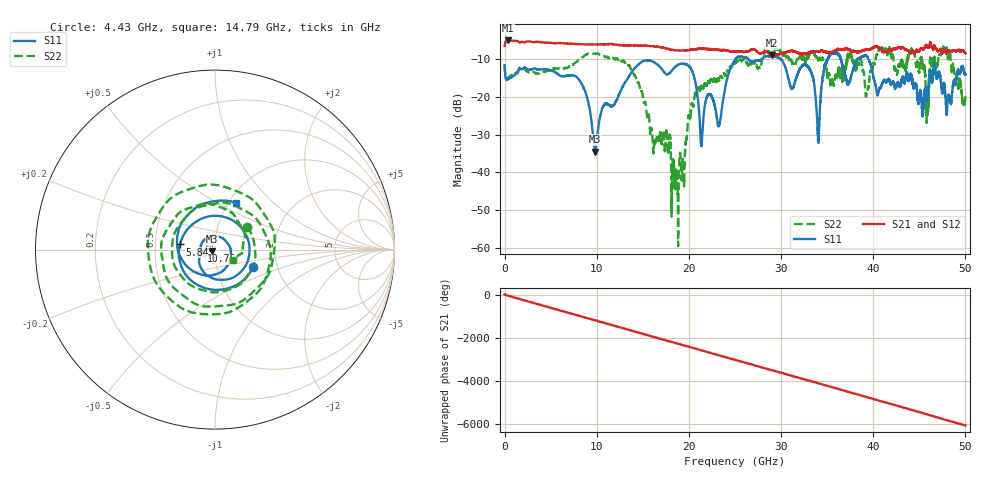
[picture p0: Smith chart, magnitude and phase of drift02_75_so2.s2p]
!Created with skrf (http://scikit-rf.org).
# Hz S RI R 50.0
!freq ReS11 ImS11 ReS21 ImS21 ReS12 ImS12 ReS22 ImS22
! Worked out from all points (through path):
!   10001 points, 300 kHz to 50 GHz, reference 50 ohm
!   highest |S21| = -5.04 dB at 375.3 MHz (marker M1); lowest = -9.0 dB at 29.05 GHz (marker M2)
!   group delay of S21, straight-line fit = 336 ps
!   lowest |S11| = -34.5 dB at 9.815 GHz (marker M3), VSWR 1.04, Z = 48.4 - j0.925 ohm
!   |S11| at or under -10 dB: start of sweep to 25.07 GHz; 29.98 GHz to 35.03 GHz (5.047 GHz wide, 15.5 % of centre); 39.48 GHz to end of sweep (the widest 3 of 10)
!   |S22| runs from -59.6 to -6.6 dB; largest |S21 - S12| = 0.022
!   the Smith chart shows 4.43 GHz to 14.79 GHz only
!   S11 on the Smith chart (normalised r, x): 4.43 GHz: 1.51, -0.31; 5.845 GHz: 0.67, +0.04; 10.75 GHz: 0.86, -0.02; 14.79 GHz: 1.09, +0.62
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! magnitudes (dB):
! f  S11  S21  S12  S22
! 300 kHz  -11.6  -6.5  -6.4  -11.5
! 375.3 MHz  -15.3  -5.0  -5.0  -14.9
! 4.43 GHz  -12.6  -5.6  -5.6  -13.3
! 5.845 GHz  -14.1  -5.7  -5.7  -12.5
! 8.335 GHz  -16.4  -6.0  -6.0  -9.6
! 9.815 GHz  -34.5  -6.1  -6.1  -8.5
! 10.75 GHz  -22.3  -6.1  -6.1  -9.2
! 14.79 GHz  -10.9  -6.4  -6.4  -18.6
! 16.67 GHz  -11.6  -6.7  -6.7  -31.3
! 18.67 GHz  -11.8  -7.7  -7.7  -40.0
! 20.37 GHz  -13.3  -7.5  -7.5  -22.0
! 21.37 GHz  -32.2  -7.2  -7.2  -16.9
! 23.31 GHz  -27.3  -7.6  -7.6  -15.6
! 25 GHz  -10.3  -7.9  -7.9  -11.2
! 29.05 GHz  -9.1  -9.0  -9.0  -8.1
! 33.34 GHz  -13.9  -8.1  -8.1  -8.1
! 34.02 GHz  -31.8  -7.9  -7.9  -10.3
! 35.52 GHz  -8.4  -8.2  -8.1  -15.5
! 41.67 GHz  -15.3  -7.7  -7.8  -7.4
! 45.85 GHz  -21.4  -6.7  -6.8  -21.3
! 47.76 GHz  -17.2  -7.5  -7.5  -7.4
! 50 GHz  -14.1  -8.4  -8.4  -20.1
